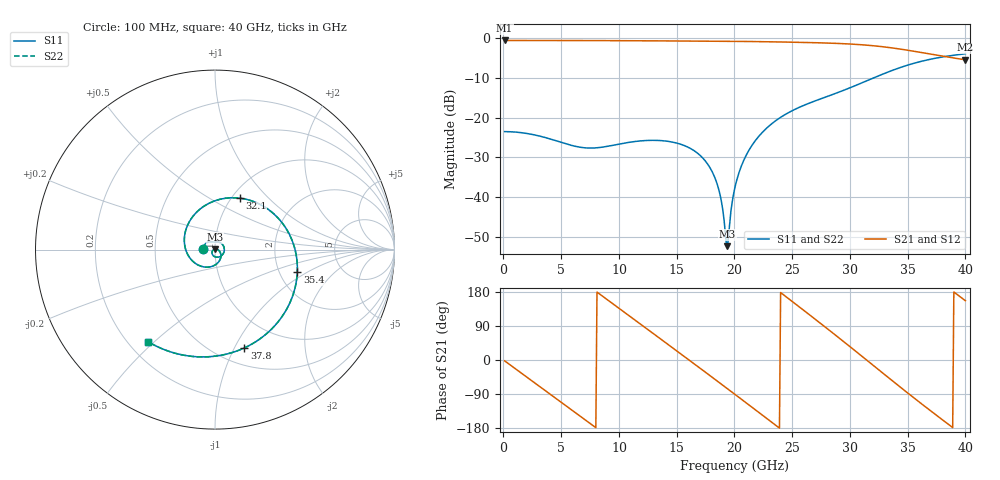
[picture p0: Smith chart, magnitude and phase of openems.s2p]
! A_s4_d300_ap800: L1→L4 through L2/L3, drill Ø0.3, antipad Ø0.8, 4 GND vias at 1 mm
! stackup: 4-layer 1.6 mm FR-4
! ports: 1, 2
! openEMS 0.37.0, staircase, fine mesh (dfine 0.0175 mm), 1048215 cells
# Hz S RI R 50
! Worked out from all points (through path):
!   400 points, 100 MHz to 40 GHz, reference 50 ohm
!   highest |S21| = -0.60 dB at 100 MHz (marker M1); lowest = -5.5 dB at 40 GHz (marker M2)
!   group delay of S21, straight-line fit = 64.2 ps
!   lowest |S11| = -52.3 dB at 19.4 GHz (marker M3), VSWR 1.00, Z = 50 + j0.242 ohm
!   |S11| at or under -10 dB: start of sweep to 32.06 GHz
!   |S22| runs from -52.3 to -4.0 dB; largest |S21 - S12| = 1.2e-05
!   S11 on the Smith chart (normalised r, x): 100 MHz: 0.87, +0.00; 32.1 GHz: 1.09, +0.69; 35.4 GHz: 2.51, -0.81; 37.8 GHz: 0.67, -1.10; 40 GHz: 0.28, -0.48
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1e8  -0.0668 0.00164  0.9321 -0.0363  0.9321 -0.0363  -0.0668 0.00164
3.6e9  -0.037 0.0425  0.1575 -0.9186  0.1575 -0.9186  -0.037 0.0425
6.8e9  -0.0078 0.0415  -0.8193 -0.4408  -0.8193 -0.4408  -0.0078 0.0415
8.7e9  0.00466 0.0427  -0.9003 0.2284  -0.9003 0.2284  0.00466 0.0426
1.07e10  0.0298 0.0382  -0.476 0.7947  -0.476 0.7947  0.0298 0.0382
1.34e10  0.0508 -0.00973  0.4578 0.8002  0.4578 0.8002  0.0508 -0.00973
1.57e10  0.0129 -0.0424  0.9083 0.1331  0.9083 0.1331  0.0129 -0.0424
1.78e10  -0.0167 -0.0181  0.7077 -0.5795  0.7077 -0.5795  -0.0167 -0.0181
1.87e10  -0.0111 -0.00337  0.4587 -0.7894  0.4587 -0.7894  -0.0111 -0.00337
1.94e10  0.000275 0.00241  0.2228 -0.8837  0.2228 -0.8837  0.000275 0.00241
2.01e10  0.0144 0.00016  -0.0303 -0.909  -0.0303 -0.909  0.0144 0.00016
2.14e10  0.0326 -0.0267  -0.4773 -0.7689  -0.4773 -0.7689  0.0326 -0.0267
2.35e10  -0.00688 -0.0896  -0.8829 -0.1488  -0.8829 -0.1488  -0.00687 -0.0896
2.5e10  -0.0812 -0.0913  -0.8015 0.3805  -0.8015 0.3805  -0.0812 -0.0913
2.67e10  -0.1551 -0.0212  -0.365 0.7967  -0.365 0.7967  -0.1551 -0.0212
2.9e10  -0.1478 0.1463  0.4323 0.7381  0.4323 0.7381  -0.1478 0.1463
3.06e10  -0.0411 0.254  0.7777 0.2946  0.7778 0.2946  -0.0411 0.254
3.21e10  0.1372 0.2867  0.7674 -0.2214  0.7674 -0.2214  0.1372 0.2867
3.34e10  0.3166 0.2085  0.5082 -0.5655  0.5082 -0.5655  0.3166 0.2085
3.54e10  0.4585 -0.1256  -0.0786 -0.6835  -0.0786 -0.6835  0.4585 -0.1256
3.78e10  0.1635 -0.5477  -0.534 -0.273  -0.5339 -0.273  0.1635 -0.5477
4e10  -0.3712 -0.5141  -0.4888 0.2131  -0.4888 0.2131  -0.3712 -0.5141
